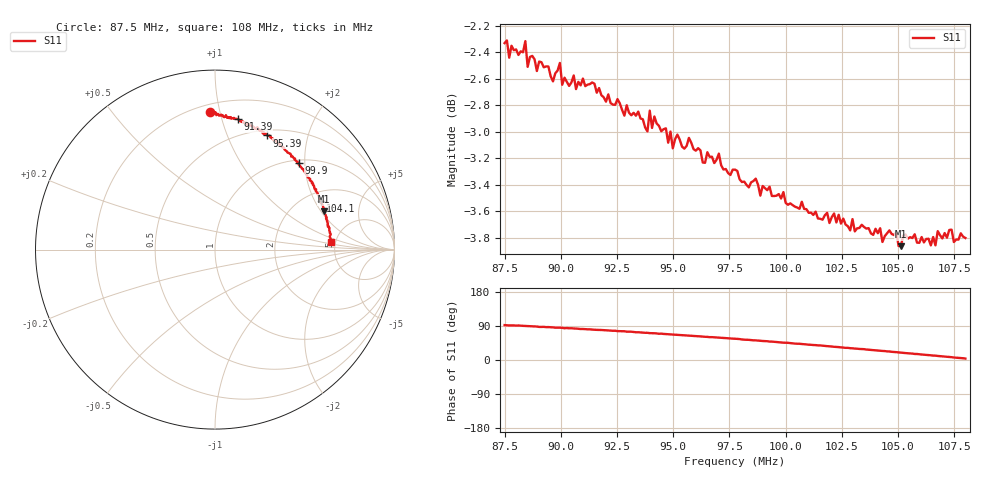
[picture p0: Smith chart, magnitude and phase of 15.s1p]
!Agilent Technologies,N5225A,MY51441201,A.09.90.19
!Agilent N5225A: A.09.90.19
!Date: Wednesday, April 25, 2018 14:34:35
!Correction: S11(Full 1 Port(1))
!S1P File: Measurement: S11:
# Hz S  dB  R 50
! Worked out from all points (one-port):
!   201 points, 87.5 MHz to 108 MHz, reference 50 ohm
!   lowest |S11| = -3.9 dB at 105.1 MHz (marker M1), VSWR 4.57, Z = 146 + j106 ohm
!   |S11| at or under -10 dB: nowhere
!   S11 on the Smith chart (normalised r, x): 87.5 MHz: 0.25, +0.93; 91.39 MHz: 0.35, +1.12; 95.39 MHz: 0.56, +1.40; 99.9 MHz: 1.07, +1.87; 104.1 MHz: 2.37, +2.23; 108 MHz: 4.54, +0.67
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8.75e7  -2.33 92.1
8.7705e7  -2.44 91.3
8.8115e7  -2.42 91.1
8.84225e7  -2.32 89.8
8.8525e7  -2.51 89.4
8.873e7  -2.43 88.8
8.96525e7  -2.62 86.0
8.996e7  -2.48 85.4
9.00625e7  -2.64 84.8
9.1395e7  -2.63 80.2
9.2625e7  -2.79 76.2
9.3855e7  -3.00 71.8
9.39575e7  -2.84 70.9
9.406e7  -2.97 70.9
9.41625e7  -2.88 70.6
9.49825e7  -3.12 67.1
9.51875e7  -3.02 66.5
9.53925e7  -3.11 65.5
9.57e7  -3.05 64.4
9.775e7  -3.29 56.2
9.99025e7  -3.45 45.7
1.003125e8  -3.55 44.2
1.02875e8  -3.74 31.2
1.04105e8  -3.77 24.9
1.0513e8  -3.86 19.4
1.054375e8  -3.81 17.8
1.0677e8  -3.75 10.7
1.08e8  -3.80 3.8
